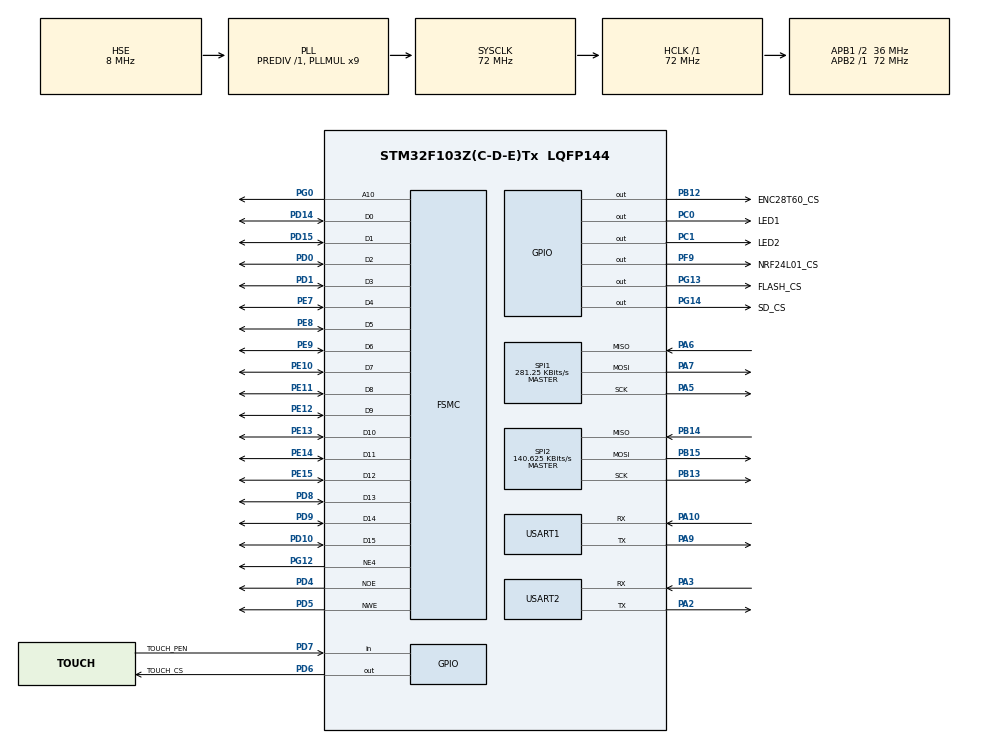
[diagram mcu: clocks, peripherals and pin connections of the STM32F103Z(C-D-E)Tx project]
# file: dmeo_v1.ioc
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FREERTOS.Mutexes01=LVGL_Mutex,Dynamic,NULL
FREERTOS.Tasks01=defaultTask,24,128,StartDefaultTask,Default,NULL,Dynamic,NULL,NULL;Task_LVGL,9,512,AppTask_LVGL,Default,NULL,Dynamic,NULL,NULL;LED1,9,128,Task_LED1,Default,NULL,Dynamic,NULL,NULL;task_wifi,9,128,ESP8266_Task,Default,NULL,Dynamic,NULL,NULL
FREERTOS.configTOTAL_HEAP_SIZE=10*1024
FREERTOS.configUSE_TICK_HOOK=1
FSMC.AddressSetupTime1=1
FSMC.BusTurnAroundDuration1=0
FSMC.DataSetupTime1=16
FSMC.ExtendedBusTurnAroundDuration1=6
FSMC.ExtendedDataSetupTime1=16
FSMC.ExtendedMode1=FSMC_EXTENDED_MODE_ENABLE
Mcu.Family=STM32F1
Mcu.Name=STM32F103Z(C-D-E)Tx
Mcu.Package=LQFP144
NVIC.PriorityGroup=NVIC_PRIORITYGROUP_4
NVIC.TIM6_IRQn=true\:15\:0\:false\:false\:true\:false\:false\:true\:true
NVIC.TimeBase=TIM6_IRQn
NVIC.TimeBaseIP=TIM6
NVIC.USART1_IRQn=true\:5\:0\:false\:false\:true\:true\:true\:true\:true
OSC_IN.Mode=HSE-External-Oscillator
OSC_IN.Signal=RCC_OSC_IN
OSC_OUT.Mode=HSE-External-Oscillator
OSC_OUT.Signal=RCC_OSC_OUT
PA10.Mode=Asynchronous
PA10.Signal=USART1_RX
PA13.Mode=Serial_Wire
PA13.Signal=SYS_JTMS-SWDIO
PA14.Mode=Serial_Wire
PA14.Signal=SYS_JTCK-SWCLK
PA2.Mode=Asynchronous
PA2.Signal=USART2_TX
PA3.Mode=Asynchronous
PA3.Signal=USART2_RX
PA5.Mode=Full_Duplex_Master
PA5.Signal=SPI1_SCK
PA6.Mode=Full_Duplex_Master
PA6.Signal=SPI1_MISO
PA7.Mode=Full_Duplex_Master
PA7.Signal=SPI1_MOSI
PA9.Mode=Asynchronous
PA9.Signal=USART1_TX
PB12.GPIO_Label=ENC28T60_CS
PB12.PinState=GPIO_PIN_SET
PB12.Signal=GPIO_Output
PB13.Mode=Full_Duplex_Master
PB13.Signal=SPI2_SCK
PB14.Mode=Full_Duplex_Master
PB14.Signal=SPI2_MISO
PB15.Mode=Full_Duplex_Master
PB15.Signal=SPI2_MOSI
PC0.GPIO_Label=LED1
PC0.Signal=GPIO_Output
PC1.GPIO_Label=LED2
PC1.Signal=GPIO_Output
PC14-OSC32_IN.Mode=LSE-External-Oscillator
PC14-OSC32_IN.Signal=RCC_OSC32_IN
PC15-OSC32_OUT.Mode=LSE-External-Oscillator
PC15-OSC32_OUT.Signal=RCC_OSC32_OUT
PD0.Signal=FSMC_D2_DA2
PD1.Signal=FSMC_D3_DA3
PD10.Signal=FSMC_D15_DA15
PD14.Signal=FSMC_D0_DA0
PD15.Signal=FSMC_D1_DA1
PD4.Signal=FSMC_NOE
PD5.Signal=FSMC_NWE
PD6.GPIO_Label=TOUCH_CS
PD6.GPIO_Speed=GPIO_SPEED_FREQ_HIGH
PD6.Signal=GPIO_Output
PD7.GPIO_Label=TOUCH_PEN
PD7.Signal=GPIO_Input
PD8.Signal=FSMC_D13_DA13
PD9.Signal=FSMC_D14_DA14
PE10.Signal=FSMC_D7_DA7
PE11.Signal=FSMC_D8_DA8
PE12.Signal=FSMC_D9_DA9
PE13.Signal=FSMC_D10_DA10
PE14.Signal=FSMC_D11_DA11
PE15.Signal=FSMC_D12_DA12
PE7.Signal=FSMC_D4_DA4
PE8.Signal=FSMC_D5_DA5
PE9.Signal=FSMC_D6_DA6
PF9.GPIO_Label=NRF24L01_CS
PF9.PinState=GPIO_PIN_SET
PF9.Signal=GPIO_Output
PG0.Signal=FSMC_A10
PG12.Mode=NorPsramChipSelect4_1
PG12.Signal=FSMC_NE4
PG13.GPIO_Label=FLASH_CS
PG13.PinState=GPIO_PIN_SET
PG13.Signal=GPIO_Output
PG14.GPIO_Label=SD_CS
PG14.PinState=GPIO_PIN_SET
PG14.Signal=GPIO_Output
ProjectManager.HeapSize=0x200
ProjectManager.StackSize=0x500
ProjectManager.TargetToolchain=MDK-ARM V5.32
RCC.AHBFreq_Value=72000000
RCC.APB1CLKDivider=RCC_HCLK_DIV2
RCC.APB1Freq_Value=36000000
RCC.APB1TimFreq_Value=72000000
RCC.APB2Freq_Value=72000000
RCC.APB2TimFreq_Value=72000000
RCC.HCLKFreq_Value=72000000
RCC.PLLMUL=RCC_PLL_MUL9
RCC.PLLSourceVirtual=RCC_PLLSOURCE_HSE
RCC.SYSCLKFreq_VALUE=72000000
RCC.SYSCLKSource=RCC_SYSCLKSOURCE_PLLCLK
RCC.USBFreq_Value=72000000
SH.FSMC_A10.0=FSMC_A10,A10_1
SH.FSMC_D0_DA0.0=FSMC_D0,16b-d1
SH.FSMC_D10_DA10.0=FSMC_D10,16b-d1
SH.FSMC_D11_DA11.0=FSMC_D11,16b-d1
SH.FSMC_D12_DA12.0=FSMC_D12,16b-d1
SH.FSMC_D13_DA13.0=FSMC_D13,16b-d1
SH.FSMC_D14_DA14.0=FSMC_D14,16b-d1
SH.FSMC_D15_DA15.0=FSMC_D15,16b-d1
SH.FSMC_D1_DA1.0=FSMC_D1,16b-d1
SH.FSMC_D2_DA2.0=FSMC_D2,16b-d1
SH.FSMC_D3_DA3.0=FSMC_D3,16b-d1
SH.FSMC_D4_DA4.0=FSMC_D4,16b-d1
SH.FSMC_D5_DA5.0=FSMC_D5,16b-d1
SH.FSMC_D6_DA6.0=FSMC_D6,16b-d1
SH.FSMC_D7_DA7.0=FSMC_D7,16b-d1
SH.FSMC_D8_DA8.0=FSMC_D8,16b-d1
SH.FSMC_D9_DA9.0=FSMC_D9,16b-d1
SH.FSMC_NOE.0=FSMC_NOE,Lcd1
SH.FSMC_NWE.0=FSMC_NWE,Lcd1
SPI1.BaudRatePrescaler=SPI_BAUDRATEPRESCALER_256
SPI1.CLKPhase=SPI_PHASE_2EDGE
SPI1.CLKPolarity=SPI_POLARITY_HIGH
SPI1.CRCCalculation=SPI_CRCCALCULATION_ENABLE
SPI1.CRCPolynomial=X0+X1+X2
SPI1.CalculateBaudRate=281.25 KBits/s
SPI1.Direction=SPI_DIRECTION_2LINES
SPI1.Mode=SPI_MODE_MASTER
SPI1.VirtualType=VM_MASTER
SPI2.BaudRatePrescaler=SPI_BAUDRATEPRESCALER_256
SPI2.CLKPhase=SPI_PHASE_2EDGE
SPI2.CLKPolarity=SPI_POLARITY_HIGH
SPI2.CRCCalculation=SPI_CRCCALCULATION_ENABLE
SPI2.CRCPolynomial=X0+X1+X2
SPI2.CalculateBaudRate=140.625 KBits/s
SPI2.Direction=SPI_DIRECTION_2LINES
SPI2.Mode=SPI_MODE_MASTER
SPI2.VirtualType=VM_MASTER
USART1.VirtualMode=VM_ASYNC
USART2.VirtualMode=VM_ASYNC
VP_FREERTOS_VS_CMSIS_V2.Mode=CMSIS_V2
VP_SYS_VS_tim6.Mode=TIM6
board=custom

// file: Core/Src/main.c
/* USER CODE BEGIN Header */
/**
  ******************************************************************************
  * @file           : main.c
  * @brief          : Main program body
  ******************************************************************************
  * @attention
  *
  * Copyright (c) 2024 STMicroelectronics.
  * All rights reserved.
  *
  * This software is licensed under terms that can be found in the LICENSE file
  * in the root directory of this software component.
  * If no LICENSE file comes with this software, it is provided AS-IS.
  *
  ******************************************************************************
  */
/* USER CODE END Header */
#include "main.h"
#include "cmsis_os.h"
#include "spi.h"
#include "usart.h"
#include "gpio.h"
#include "fsmc.h"

/* USER CODE BEGIN Includes */
#include "tftlcd.h"
#include "24CXX.h"
#include "touch.h"
#include "flash.h"
#include "lv_port_disp.h"
#include "lv_port_indev.h"
#include "lvgl.h"
/* USER CODE END Includes */

void SystemClock_Config(void);
void MX_FREERTOS_Init(void);

int main(void)
{

  /* MCU Configuration--------------------------------------------------------*/

  /* Reset of all peripherals, Initializes the Flash interface and the Systick. */
  HAL_Init();

  /* USER CODE BEGIN Init */
//	SysTick_Init(72);
	tim1_init();
  /* USER CODE END Init */

  /* Configure the system clock */
  SystemClock_Config();

  /* Initialize all configured peripherals */
  MX_GPIO_Init();
  MX_FSMC_Init();
  MX_SPI1_Init();
  MX_USART1_UART_Init();
  MX_USART2_UART_Init();
  MX_SPI2_Init();
  /* USER CODE BEGIN 2 */
	AT24CXX_Init();
	TFTLCD_Init();
	TOUCH_Init();
	EN25QXX_Init();
	LCD_ShowString(10, 10, 50, 10, 12, (u8*)"HELLO");

	lv_init();
	lv_port_disp_init();
	lv_port_indev_init();

  /* USER CODE END 2 */

  /* Init scheduler */
  osKernelInitialize();

  /* Call init function for freertos objects (in freertos.c) */
  MX_FREERTOS_Init();

  /* Start scheduler */
  osKernelStart();

  /* We should never get here as control is now taken by the scheduler */
  /* Infinite loop */
  while (1)
  {

  }
}

void SystemClock_Config(void)
{
  RCC_OscInitTypeDef RCC_OscInitStruct = {0};
  RCC_ClkInitTypeDef RCC_ClkInitStruct = {0};

  /** Initializes the RCC Oscillators according to the specified parameters
  * in the RCC_OscInitTypeDef structure.
  */
  RCC_OscInitStruct.OscillatorType = RCC_OSCILLATORTYPE_HSE;
  RCC_OscInitStruct.HSEState = RCC_HSE_ON;
  RCC_OscInitStruct.HSEPredivValue = RCC_HSE_PREDIV_DIV1;
  RCC_OscInitStruct.HSIState = RCC_HSI_ON;
  RCC_OscInitStruct.PLL.PLLState = RCC_PLL_ON;
  RCC_OscInitStruct.PLL.PLLSource = RCC_PLLSOURCE_HSE;
  RCC_OscInitStruct.PLL.PLLMUL = RCC_PLL_MUL9;
  if (HAL_RCC_OscConfig(&RCC_OscInitStruct) != HAL_OK)
  {
    Error_Handler();
  }

  /** Initializes the CPU, AHB and APB buses clocks
  */
  RCC_ClkInitStruct.ClockType = RCC_CLOCKTYPE_HCLK|RCC_CLOCKTYPE_SYSCLK
                              |RCC_CLOCKTYPE_PCLK1|RCC_CLOCKTYPE_PCLK2;
  RCC_ClkInitStruct.SYSCLKSource = RCC_SYSCLKSOURCE_PLLCLK;
  RCC_ClkInitStruct.AHBCLKDivider = RCC_SYSCLK_DIV1;
  RCC_ClkInitStruct.APB1CLKDivider = RCC_HCLK_DIV2;
  RCC_ClkInitStruct.APB2CLKDivider = RCC_HCLK_DIV1;

  if (HAL_RCC_ClockConfig(&RCC_ClkInitStruct, FLASH_LATENCY_2) != HAL_OK)
  {
    Error_Handler();
  }
}

void HAL_TIM_PeriodElapsedCallback(TIM_HandleTypeDef *htim)
{
  if (htim->Instance == TIM6) {
    HAL_IncTick();
  }
}

void Error_Handler(void)
{
  __disable_irq();
  while (1)
  {
  }
}

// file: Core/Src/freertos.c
/* USER CODE BEGIN Header */
/**
  ******************************************************************************
  * File Name          : freertos.c
  * Description        : Code for freertos applications
  ******************************************************************************
  * @attention
  *
  * Copyright (c) 2024 STMicroelectronics.
  * All rights reserved.
  *
  * This software is licensed under terms that can be found in the LICENSE file
  * in the root directory of this software component.
  * If no LICENSE file comes with this software, it is provided AS-IS.
  *
  ******************************************************************************
  */
/* USER CODE END Header */

#include "FreeRTOS.h"
#include "task.h"
#include "main.h"
#include "cmsis_os.h"

/* USER CODE BEGIN Includes */
#include "wifi.h"
#include "lvgl.h"
#include "touch.h"
#include "my_gui.h"
#include "usart.h"
#include "flash.h"
/* USER CODE END Includes */

/* USER CODE BEGIN PM */
//lv_obj_t *led;
/* USER CODE END PM */

/* Definitions for defaultTask */
osThreadId_t defaultTaskHandle;
const osThreadAttr_t defaultTask_attributes = {
  .name = "defaultTask",
  .stack_size = 128 * 4,
  .priority = (osPriority_t) osPriorityNormal,
};
/* Definitions for Task_LVGL */
osThreadId_t Task_LVGLHandle;
const osThreadAttr_t Task_LVGL_attributes = {
  .name = "Task_LVGL",
  .stack_size = 512 * 4,
  .priority = (osPriority_t) osPriorityLow1,
};
/* Definitions for LED1 */
osThreadId_t LED1Handle;
const osThreadAttr_t LED1_attributes = {
  .name = "LED1",
  .stack_size = 128 * 4,
  .priority = (osPriority_t) osPriorityLow1,
};
/* Definitions for task_wifi */
osThreadId_t task_wifiHandle;
const osThreadAttr_t task_wifi_attributes = {
  .name = "task_wifi",
  .stack_size = 128 * 4,
  .priority = (osPriority_t) osPriorityLow1,
};
/* Definitions for LVGL_Mutex */
osMutexId_t LVGL_MutexHandle;
const osMutexAttr_t LVGL_Mutex_attributes = {
  .name = "LVGL_Mutex"
};

void StartDefaultTask(void *argument);
void AppTask_LVGL(void *argument);
void Task_LED1(void *argument);
void ESP8266_Task(void *argument);

void MX_FREERTOS_Init(void); /* (MISRA C 2004 rule 8.1) */

/* Hook prototypes */
void vApplicationTickHook(void);

/* USER CODE BEGIN 3 */
void vApplicationTickHook( void )
{
   /* This function will be called by each tick interrupt if
   configUSE_TICK_HOOK is set to 1 in FreeRTOSConfig.h. User code can be
   added here, but the tick hook is called from an interrupt context, so
   code must not attempt to block, and only the interrupt safe FreeRTOS API
   functions can be used (those that end in FromISR()). */
		lv_tick_inc(1);
}
/* USER CODE END 3 */

void MX_FREERTOS_Init(void) {
  /* Create the mutex(es) */
  /* creation of LVGL_Mutex */
  LVGL_MutexHandle = osMutexNew(&LVGL_Mutex_attributes);

  /* Create the thread(s) */
  /* creation of defaultTask */
  defaultTaskHandle = osThreadNew(StartDefaultTask, NULL, &defaultTask_attributes);

  /* creation of Task_LVGL */
  Task_LVGLHandle = osThreadNew(AppTask_LVGL, NULL, &Task_LVGL_attributes);

  /* creation of LED1 */
  LED1Handle = osThreadNew(Task_LED1, NULL, &LED1_attributes);

  /* creation of task_wifi */
  task_wifiHandle = osThreadNew(ESP8266_Task, NULL, &task_wifi_attributes);

}

void StartDefaultTask(void *argument)
{
  for(;;)
  {
    osDelay(1);
  }
}

void AppTask_LVGL(void *argument)
{
  /* USER CODE BEGIN AppTask_LVGL */
  /* Infinite loop */
	menu();

  for(;;)
  {
    /* 获取信号量以确保LVGL线程安全 */
//    if (xSemaphoreTake(LVGL_MutexHandle, portMAX_DELAY) == pdTRUE)
//    {
      TOUCH_Scan();          // 触摸扫描
      lv_task_handler();     // LVGL任务处理
//      xSemaphoreGive(LVGL_MutexHandle); // 释放信号量
//    }

    /* 延时控制，20ms刷新一次 */
    vTaskDelay(pdMS_TO_TICKS(20));
  }
  /* USER CODE END AppTask_LVGL */
}

void Task_LED1(void *argument)
{
  /* USER CODE BEGIN Task_LED1 */

  /* Infinite loop */
  for(;;)
  {
		HAL_GPIO_TogglePin(LED1_GPIO_Port, LED1_Pin);

    osDelay(200);
  }
  /* USER CODE END Task_LED1 */
}

void ESP8266_Task(void *argument)
{
  /* USER CODE BEGIN ESP8266_Task */
  /* Infinite loop */

	// 重启 ESP8266
	ESP8266_Reset();

	// 设置 ESP8266 为 STA 模式
//	ESP8266_SetMode_STA();

	// 连接到 Wi-Fi 网络
//	ESP8266_ConnectToWiFi("harmony", "11111111");

	// 检查连接状态
	ESP8266_CheckStatus();
	UART2_SendString(ESP8266_CHECK_CWJAP);
	vTaskDelay(pdMS_TO_TICKS(200));
	UART2_SendString(ESP8266_CHECK_CIPSTA);
	vTaskDelay(pdMS_TO_TICKS(1000));
	UART2_SendString(ESP8266_CHECK_CWMAC);
	vTaskDelay(pdMS_TO_TICKS(1000));
	UART2_SendString(ESP8266_MQTTUSERCFG);
	vTaskDelay(pdMS_TO_TICKS(2000));
	UART2_SendString(ESP8266_MQTTCLIENTID);
	vTaskDelay(pdMS_TO_TICKS(3000));
	UART2_SendString(ESP8266_MQTTCONN);
  vTaskDelay(pdMS_TO_TICKS(4000));
//	// 连接到服务器 (示例：连接到某个 IP 地址和端口)
//	ESP8266_ConnectToServer("192.168.31.25", 8080);
//	ESP8266_SetPassThroughMode();
//	while(EN25QXX_ReadID()!=EN25Q64)			//检测不到EN25Q64
//	{
//		UART2_SendString("EN25Q64 Check Failed!\r\n");

//	}
//	UART2_SendString("EN25Q64 OK\r\n");
//	UART2_SendString("AT+UART=115200,8,1,0\r\n");
  for(;;)
  {
		// 发送数据到服务器
//		char message[] = "Hello from STM32!";
//		ESP8266_SendData(message, strlen(message));
//		ESP8266_CheckStatus();
//		UART2_SendString(ESP8266_CHECK_CWJAP);
//		UART2_SendString(ESP8266_CHECK_CIPSTA);
//		UART2_SendString(ESP8266_CHECK_CWMAC);
		vTaskDelay(pdMS_TO_TICKS(200));
  }
  /* USER CODE END ESP8266_Task */
}

/* USER CODE BEGIN Application */
//void event_cb(lv_event_t *e)
//{
//		lv_event_code_t code = lv_event_get_code(e);
//		if(code == LV_EVENT_CLICKED)
//		HAL_GPIO_TogglePin(LED2_GPIO_Port, LED2_Pin);
//		lv_led_toggle(led);
//}
/* USER CODE END Application */
